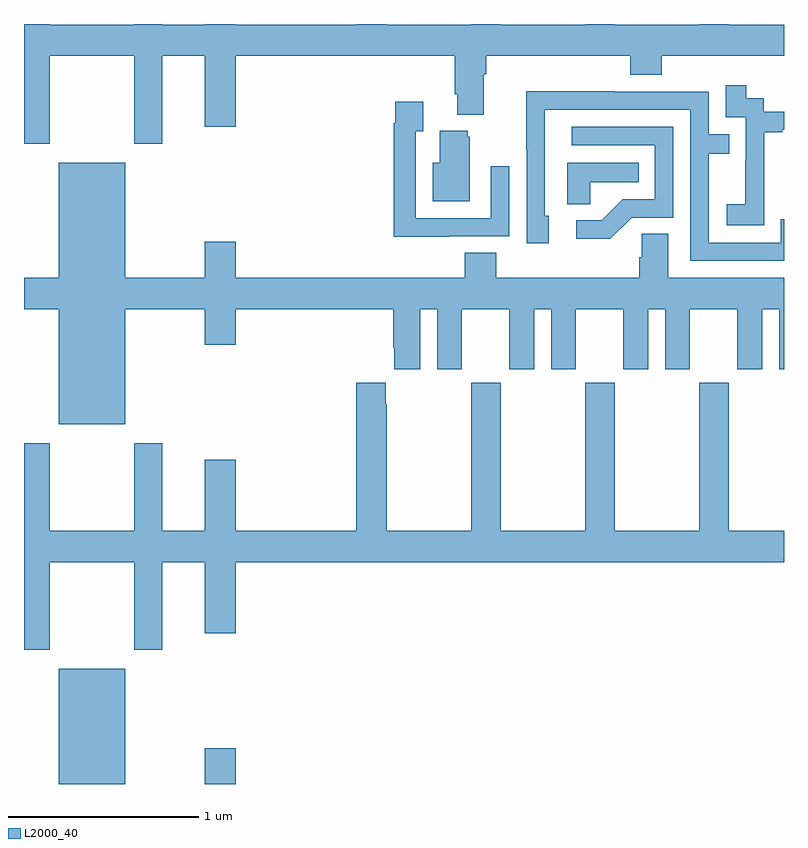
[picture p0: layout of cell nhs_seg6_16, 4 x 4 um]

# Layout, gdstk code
import gdstk
lib = gdstk.Library(unit=1e-6, precision=1e-09)
def R(c, l, rs):  # rectangles x0, y0, x1, y1
    for r in rs: c.add(gdstk.rectangle(r[:2], r[2:], *l))
def P(c, l, *ps):  # polygons
    for p in ps: c.add(gdstk.Polygon(p, *l))
L2000_40 = (2000, 40)

nhs_seg6_16 = lib.new_cell('nhs_seg6_16')
R(nhs_seg6_16, L2000_40, [(111.182,947.5,111.532,948.106), (111.95,947.5,112.114,947.689)])
P(nhs_seg6_16, L2000_40, [(111.135,951.332),(111.58,951.332),(111.58,950.871),(111.727,950.871),(111.727,951.332),(111.95,951.332),(111.95,950.958),(112.114,950.958),(112.114,951.332),(113.267,951.332),(113.267,951.13),(113.279,951.13),(113.279,951.023),(113.419,951.023),(113.419,951.236),(113.432,951.236),(113.432,951.332),(114.191,951.332),(114.191,951.233),(114.356,951.233),(114.356,951.332),(115,951.332),(115,951.496),(114.708,951.496),(114.708,951.5),(114.553,951.5),(114.553,951.496),(114.108,951.496),(114.108,951.5),(113.953,951.5),(113.953,951.496),(113.508,951.496),(113.508,951.5),(113.353,951.5),(113.353,951.496),(112.908,951.496),(112.908,951.5),(112.748,951.5),(112.748,951.496),(112.114,951.496),(112.114,951.5),(111.95,951.5),(111.95,951.496),(111.727,951.496),(111.727,951.5),(111.58,951.5),(111.58,951.496),(111.135,951.496),(111.135,951.5),(111,951.5),(111,950.871),(111.135,950.871)],
  [(114.897,950.647),(114.896,950.647),(114.896,950.931),(114.991,950.931),(114.991,950.943),(115,950.943),(115,951.039),(114.894,951.039),(114.894,951.108),(114.802,951.108),(114.802,951.178),(114.693,951.178),(114.693,951.009),(114.798,951.009),(114.798,950.78),(114.797,950.78),(114.797,950.551),(114.699,950.551),(114.699,950.441),(114.897,950.441)],
  [(115,950.472),(114.984,950.472),(114.984,950.349),(114.603,950.349),(114.603,950.818),(114.713,950.818),(114.713,950.919),(114.603,950.919),(114.603,951.144),(114.107,951.144),(114.107,951.146),(113.644,951.146),(113.644,950.839),(113.646,950.839),(113.646,950.346),(113.761,950.346),(113.761,950.49),(113.742,950.49),(113.742,951.048),(114.507,951.048),(114.507,950.253),(115,950.253)],
  [(113.237,950.382),(113.553,950.382),(113.553,950.752),(113.457,950.752),(113.457,950.478),(113.061,950.478),(113.061,950.935),(113.101,950.935),(113.101,951.091),(112.953,951.091),(112.953,950.978),(112.945,950.978),(112.945,950.381),(113.237,950.381)],
  [(114.198,950.481),(114.417,950.481),(114.417,950.958),(113.883,950.958),(113.883,950.862),(114.321,950.862),(114.321,950.577),(114.152,950.577),(114.041,950.466),(113.907,950.466),(113.907,950.369),(114.085,950.369)],
  [(113.347,950.907),(113.336,950.907),(113.336,950.938),(113.189,950.938),(113.189,950.77),(113.15,950.77),(113.15,950.567),(113.347,950.567)],
  [(111.532,950),(111.95,950),(111.95,949.812),(112.114,949.812),(112.114,950),(112.943,950),(112.943,949.795),(112.949,949.795),(112.949,949.683),(113.086,949.683),(113.086,950),(113.174,950),(113.174,949.683),(113.305,949.683),(113.305,950),(113.555,950),(113.555,949.683),(113.686,949.683),(113.686,950),(113.774,950),(113.774,949.683),(113.905,949.683),(113.905,950),(114.155,950),(114.155,949.683),(114.286,949.683),(114.286,950),(114.374,950),(114.374,949.683),(114.505,949.683),(114.505,950),(114.755,950),(114.755,949.683),(114.886,949.683),(114.886,950),(114.974,950),(114.974,949.683),(115,949.683),(115,950.164),(114.391,950.164),(114.391,950.396),(114.252,950.396),(114.252,950.273),(114.239,950.273),(114.239,950.164),(113.486,950.164),(113.486,950.297),(113.321,950.297),(113.321,950.164),(112.114,950.164),(112.114,950.353),(111.95,950.353),(111.95,950.164),(111.532,950.164),(111.532,950.77),(111.182,950.77),(111.182,950.164),(111,950.164),(111,950),(111.182,950),(111.182,949.394),(111.532,949.394)],
  [(113.979,950.666),(114.236,950.666),(114.236,950.77),(113.858,950.77),(113.858,950.551),(113.979,950.551)],
  [(111.135,948.668),(111.58,948.668),(111.58,948.207),(111.727,948.207),(111.727,948.668),(111.95,948.668),(111.95,948.294),(112.114,948.294),(112.114,948.668),(115,948.668),(115,948.832),(114.708,948.832),(114.708,949.612),(114.553,949.612),(114.553,948.832),(114.108,948.832),(114.108,949.612),(113.953,949.612),(113.953,948.832),(113.508,948.832),(113.508,949.612),(113.353,949.612),(113.353,948.832),(112.908,948.832),(112.908,949.499),(112.903,949.499),(112.903,949.612),(112.748,949.612),(112.748,948.832),(112.114,948.832),(112.114,949.207),(111.95,949.207),(111.95,948.832),(111.727,948.832),(111.727,949.294),(111.58,949.294),(111.58,948.832),(111.135,948.832),(111.135,949.294),(111,949.294),(111,948.207),(111.135,948.207)])

lib.write_gds('nhs_seg6_16.gds')
